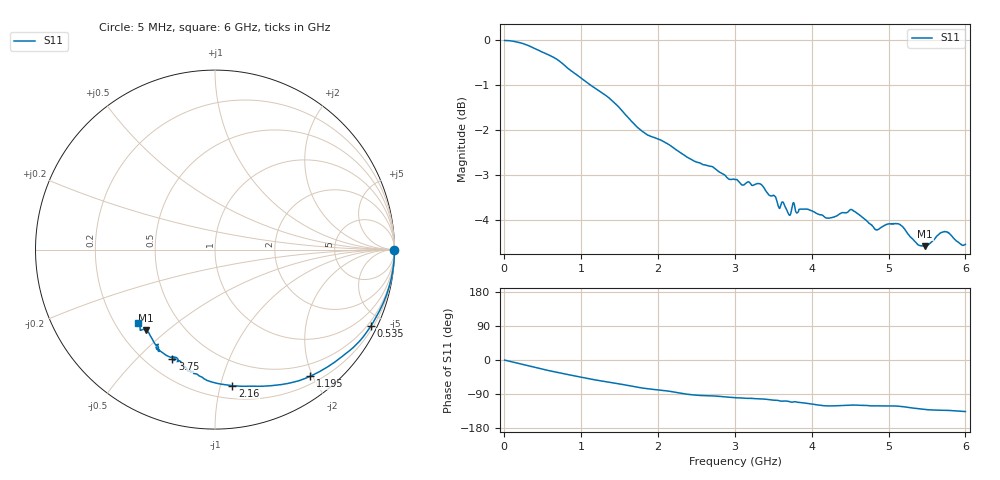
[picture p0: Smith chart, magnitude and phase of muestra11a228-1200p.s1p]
# Hz S RI R 50.000000
! Metas.Vna.Tools, 3.0.9519.15400
! Metas.Vna.Data, 3.0.9519.15360
! Created: UTC 2026.10.24 15:32:43
! FREQ  re:S1,1  im:S1,1
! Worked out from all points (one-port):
!   1200 points, 5 MHz to 6 GHz, reference 50 ohm
!   lowest |S11| = -4.6 dB at 5.475 GHz (marker M1), VSWR 3.88, Z = 15.4 - j21.2 ohm
!   |S11| at or under -10 dB: nowhere
!   S11 on the Smith chart (normalised r, x): 5 MHz: open; 535 MHz: 0.32, -4.31; 1.195 GHz: 0.31, -1.97; 2.16 GHz: 0.30, -1.09; 3.75 GHz: 0.30, -0.64; 6 GHz: 0.29, -0.37
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5000000  1 -0.0044
2.45e8  0.9695 -0.2098
5.35e8  0.8696 -0.4241
7.55e8  0.7681 -0.5473
1.01e9  0.6312 -0.6511
1.195e9  0.5318 -0.7054
1.505e9  0.3779 -0.7505
1.78e9  0.2251 -0.7618
2.16e9  0.096 -0.7579
2.255e9  0.0507 -0.7521
2.47e9  -0.0297 -0.7335
2.75e9  -0.0645 -0.7163
3.005e9  -0.1187 -0.6896
3.34e9  -0.1514 -0.6748
3.58e9  -0.1971 -0.6196
3.68e9  -0.2057 -0.6124
3.75e9  -0.2376 -0.6111
3.755e9  -0.2368 -0.6139
3.805e9  -0.2306 -0.5997
4.165e9  -0.3261 -0.5465
4.285e9  -0.3274 -0.545
4.505e9  -0.3143 -0.5671
4.83e9  -0.3171 -0.528
5.115e9  -0.3286 -0.5317
5.255e9  -0.3497 -0.4981
5.475e9  -0.3839 -0.4483
5.755e9  -0.4165 -0.4488
6e9  -0.4269 -0.4117
